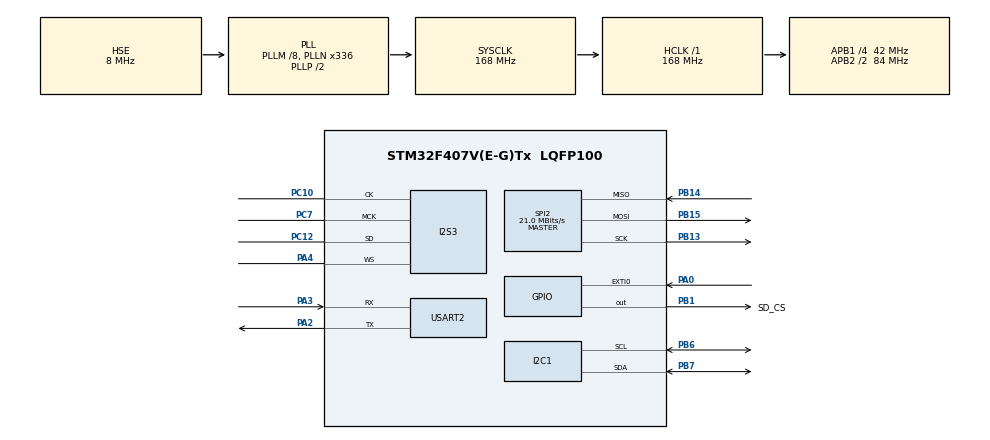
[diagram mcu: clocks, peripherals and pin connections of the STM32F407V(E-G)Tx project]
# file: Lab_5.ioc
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Dma.Request0=SPI3_TX
Dma.SPI3_TX.0.Direction=DMA_MEMORY_TO_PERIPH
Dma.SPI3_TX.0.FIFOMode=DMA_FIFOMODE_ENABLE
Dma.SPI3_TX.0.FIFOThreshold=DMA_FIFO_THRESHOLD_FULL
Dma.SPI3_TX.0.Instance=DMA1_Stream5
Dma.SPI3_TX.0.MemBurst=DMA_MBURST_SINGLE
Dma.SPI3_TX.0.MemDataAlignment=DMA_MDATAALIGN_HALFWORD
Dma.SPI3_TX.0.MemInc=DMA_MINC_ENABLE
Dma.SPI3_TX.0.Mode=DMA_CIRCULAR
Dma.SPI3_TX.0.PeriphBurst=DMA_PBURST_SINGLE
Dma.SPI3_TX.0.PeriphDataAlignment=DMA_PDATAALIGN_HALFWORD
Dma.SPI3_TX.0.PeriphInc=DMA_PINC_DISABLE
Dma.SPI3_TX.0.Priority=DMA_PRIORITY_LOW
I2S3.ErrorAudioFreq=-0.27 %
I2S3.FullDuplexMode=I2S_FULLDUPLEXMODE_DISABLE
I2S3.Instance=SPI$Index
I2S3.RealAudioFreq=7.978 KHz
I2S3.VirtualMode=I2S_MODE_MASTER
Mcu.Family=STM32F4
Mcu.Name=STM32F407V(E-G)Tx
Mcu.Package=LQFP100
NVIC.DMA1_Stream5_IRQn=true\:0\:0\:false\:false\:true\:false\:true\:true
NVIC.EXTI0_IRQn=true\:5\:0\:true\:false\:true\:true\:true\:true
NVIC.PriorityGroup=NVIC_PRIORITYGROUP_4
NVIC.TIM2_IRQn=true\:15\:0\:false\:false\:true\:false\:true\:true
NVIC.TimeBase=TIM2_IRQn
NVIC.TimeBaseIP=TIM2
PA0-WKUP.Signal=GPXTI0
PA2.Mode=Asynchronous
PA2.Signal=USART2_TX
PA3.Mode=Asynchronous
PA3.Signal=USART2_RX
PA4.Mode=Half_Duplex_Master
PA4.Signal=I2S3_WS
PB1.GPIO_Label=SD_CS
PB1.Signal=GPIO_Output
PB13.Mode=Full_Duplex_Master
PB13.Signal=SPI2_SCK
PB14.Mode=Full_Duplex_Master
PB14.Signal=SPI2_MISO
PB15.Mode=Full_Duplex_Master
PB15.Signal=SPI2_MOSI
PB6.Mode=I2C
PB6.Signal=I2C1_SCL
PB7.Mode=I2C
PB7.Signal=I2C1_SDA
PC10.Mode=Half_Duplex_Master
PC10.Signal=I2S3_CK
PC12.Mode=Half_Duplex_Master
PC12.Signal=I2S3_SD
PC7.Mode=Master_Clock_Activated
PC7.Signal=I2S3_MCK
PH0-OSC_IN.Mode=HSE-External-Oscillator
PH0-OSC_IN.Signal=RCC_OSC_IN
PH1-OSC_OUT.Mode=HSE-External-Oscillator
PH1-OSC_OUT.Signal=RCC_OSC_OUT
ProjectManager.HeapSize=0x200
ProjectManager.StackSize=0x400
ProjectManager.TargetToolchain=STM32CubeIDE
RCC.48MHZClocksFreq_Value=84000000
RCC.AHBFreq_Value=168000000
RCC.APB1CLKDivider=RCC_HCLK_DIV4
RCC.APB1Freq_Value=42000000
RCC.APB1TimFreq_Value=84000000
RCC.APB2CLKDivider=RCC_HCLK_DIV2
RCC.APB2Freq_Value=84000000
RCC.APB2TimFreq_Value=168000000
RCC.CortexFreq_Value=168000000
RCC.HCLKFreq_Value=168000000
RCC.HSE_VALUE=8000000
RCC.HSI_VALUE=16000000
RCC.LSE_VALUE=32768
RCC.PLLM=8
RCC.PLLN=336
RCC.PLLSourceVirtual=RCC_PLLSOURCE_HSE
RCC.SYSCLKFreq_VALUE=168000000
RCC.SYSCLKSource=RCC_SYSCLKSOURCE_PLLCLK
RCC.VCOOutputFreq_Value=336000000
SPI2.BaudRatePrescaler=SPI_BAUDRATEPRESCALER_2
SPI2.CalculateBaudRate=21.0 MBits/s
SPI2.Direction=SPI_DIRECTION_2LINES
SPI2.Mode=SPI_MODE_MASTER
SPI2.VirtualType=VM_MASTER
USART2.VirtualMode=VM_ASYNC
VP_FATFS_VS_Generic.Mode=User_defined
VP_SYS_VS_tim2.Mode=TIM2
board=custom

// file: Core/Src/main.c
/* USER CODE BEGIN Header */
/**
  ******************************************************************************
  * @file           : main.c
  * @brief          : Main program body
  ******************************************************************************
  * @attention
  *
  * Copyright (c) 2025 STMicroelectronics.
  * All rights reserved.
  *
  * This software is licensed under terms that can be found in the LICENSE file
  * in the root directory of this software component.
  * If no LICENSE file comes with this software, it is provided AS-IS.
  *
  ******************************************************************************
  */
/* USER CODE END Header */
#include "main.h"
#include "fatfs.h"

/* USER CODE BEGIN Includes */
#include "FreeRTOS.h"
#include "task.h"
#include "myprintf.h"
#include "string.h"
#include "waveplayer.h"
#include "File_Handling.h"
#include "semphr.h"
#include "queue.h"
#include "stdarg.h"
/* USER CODE END Includes */

/* USER CODE BEGIN PTD */
typedef enum {
	PLAYBACK_CONTROL,
	TRACK_SWITCHING,
	VOLUME_ADJUST
} SystemState;

typedef enum {
	NO_PRESS,
	SINGLE_PRESS,
	LONG_PRESS,
	DOUBLE_PRESS
} eButtonEvent;

typedef struct {
	char message[128];
} LogMessage;
/* USER CODE END PTD */

/* USER CODE BEGIN PD */
#define AUDIO_EXIT_NOTIFY	(1UL << 0)
#define AUDIO_EXITED_NOTIFY (1UL << 1)
/* USER CODE END PD */

I2C_HandleTypeDef hi2c1;

I2S_HandleTypeDef hi2s3;
DMA_HandleTypeDef hdma_spi3_tx;

SPI_HandleTypeDef hspi2;

UART_HandleTypeDef huart2;

/* USER CODE BEGIN PV */
extern AUDIO_PLAYBACK_StateTypeDef AudioState;
TaskHandle_t buttonTaskHandle;
bool initialized  = false;
SystemState currentState = PLAYBACK_CONTROL;
bool single_press = false;
SemaphoreHandle_t fatfsMutex;
QueueHandle_t logQueue;
/* USER CODE END PV */

void SystemClock_Config(void);
static void MX_GPIO_Init(void);
static void MX_DMA_Init(void);
static void MX_SPI2_Init(void);
static void MX_USART2_UART_Init(void);
static void MX_I2C1_Init(void);
static void MX_I2S3_Init(void);

/* USER CODE BEGIN 0 */
void LogOperation(const char *format, ...){
	LogMessage msg;
	va_list args;
	va_start(args, format);
	vsnprintf(msg.message, sizeof(msg.message), format, args);
	va_end(args);
	if (xQueueSend(logQueue, &msg, pdMS_TO_TICKS(100)) != pdPASS){
		myprintf("Failed to send log message!\r\n");
	}
}

void PrintLogFile(void) {
	FIL logFile;
	FRESULT fr;
	UINT br;
	char buffer[128];
	xSemaphoreTake(fatfsMutex, portMAX_DELAY);
	fr = f_open(&logFile, "log.txt", FA_READ);
	if (fr != FR_OK) {
		myprintf("Failed to open log.txt (Error: %d)\r\n", fr);
		xSemaphoreGive(fatfsMutex);
		return;
	}
	myprintf("Log file contents:\r\n");
	do {
		fr = f_read(&logFile, buffer, sizeof(buffer)-1, &br);
		if (fr != FR_OK) {
			myprintf("Error reading log.txt (Error: %d)\r\n", fr);
			break;
		}
		buffer[br] = '\0';
		myprintf("%s", buffer);
	} while (br == sizeof(buffer) - 1);

	f_close(&logFile);

	xSemaphoreGive(fatfsMutex);
}
void LogTask(void *pvParameters) {
	FIL logFile;
	FRESULT fr;
	UINT bw;
	LogMessage logMsg;
	bool fileOpened = false;

	xSemaphoreTake(fatfsMutex, portMAX_DELAY);
	fr = f_open(&logFile, "log.txt", FA_OPEN_ALWAYS);
	if (fr == FR_OK) {
		f_close(&logFile);
		myprintf("Log file cleared.\r\n");
	} else {
		myprintf("Failed to clear log file, error = %d\r\n", fr);
	}
	xSemaphoreGive(fatfsMutex);

	for(;;){
		if (xQueueReceive(logQueue, &logMsg, portMAX_DELAY) == pdPASS) {
			xSemaphoreTake(fatfsMutex, portMAX_DELAY);
			if(!fileOpened) {
				fr = f_open(&logFile, "log.txt", FA_WRITE | FA_OPEN_APPEND);
				if (fr != FR_OK){
					myprintf("LogTask: Failed to open log.txt, error = %d\r\n", fr);
					xSemaphoreGive(fatfsMutex);
					continue;
				}
				fileOpened = true;
			}

			fr = f_write(&logFile, logMsg.message, strlen(logMsg.message), 8ddddddddd&bw);
			if (fr == FR_OK){

				f_sync(&logFile);
				myprintf("LogTask: Wrote log entry.\r\n");

				f_close(&logFile);
				fileOpened = false;
				xSemaphoreGive(fatfsMutex);
				PrintLogFile();
			} else {
				myprintf("LogTask: f_write error: %d\r\n", fr);
				xSemaphoreGive(fatfsMutex);
			}
		}
	}
}

bool buttonState() {
   static const uint32_t DEBOUNCE_MILLIS = 50;
   static bool buttonstate = false;
   static uint32_t buttonstate_ts = 0;

   uint32_t now = HAL_GetTick();

   if (!initialized) {
       buttonstate = HAL_GPIO_ReadPin(GPIOA, GPIO_PIN_0) == GPIO_PIN_SET;
       buttonstate_ts = now;
       initialized = true;
   }

   if (now - buttonstate_ts > DEBOUNCE_MILLIS) {
       bool current_state = (HAL_GPIO_ReadPin(GPIOA, GPIO_PIN_0) == GPIO_PIN_SET);
       if (buttonstate != current_state) {
           buttonstate = current_state;
           buttonstate_ts = now;
       }
   }
   return buttonstate;
}

eButtonEvent getButtonEvent()
{
    static const uint32_t DOUBLE_GAP_MILLIS_MAX = 250;
    static const uint32_t LONG_MILLIS_MIN = 800;

    static uint32_t button_down_ts = 0;
    static uint32_t button_up_ts = 0;

    static bool double_pending = false;
    static bool long_press_pending = false;
    static bool button_down = false;
    static bool long_press_fired = false;

    static eButtonEvent pending_event = NO_PRESS;
    uint32_t now = HAL_GetTick();
    /*write your code here*/
    /*Determine whether it's a single press, double press, or long press.*/

    bool is_pressed = buttonState();

    // detected button
    if (is_pressed)
    {
    	// keep
    	if (button_down)
		{
        	if (!long_press_fired && !double_pending)
        	{
        		// over LONG_MILLIS_MIN => LONG PRESS
        		if ((now - button_down_ts) >= LONG_MILLIS_MIN)
        		{
        			pending_event = LONG_PRESS;
        			long_press_fired = true;
        		}
        	}
    	}
    	else
    	{
			button_down = true;
			button_down_ts = now;
			long_press_fired = false;

			// waiting double press
			if (double_pending)
			{
				pending_event = DOUBLE_PRESS;
				double_pending = false;
				long_press_fired = true;
			}
    	}
    }
    else
    {
    	if (button_down)
    	{
    		button_down = false;
    		button_up_ts = now;
    		// checked LONG PRESS and DOUBLE PRESS
    		if (!long_press_fired && pending_event != DOUBLE_PRESS)
    		{
    			double_pending = true;
    		}
    	}
    	else
    	{
    		if (double_pending)
    		{
    			// over DOUBLE_GAP_MILLIS_MAX => SINGLE PRESS
    			if ((now - button_up_ts) >= DOUBLE_GAP_MILLIS_MAX)
    			{
    				pending_event = SINGLE_PRESS;
    				double_pending = false;
    			}
    		}
    	}
    }

    eButtonEvent event_to_return = pending_event;
    pending_event = NO_PRESS;
    return event_to_return;
}

void ButtonTask(void *pvParameters){
	while (1){
		xTaskNotifyWait(0, 0, NULL, pdMS_TO_TICKS(20));

		eButtonEvent event = getButtonEvent();
		if (event != NO_PRESS) {
			switch (currentState) {
				case PLAYBACK_CONTROL:
					if (event == SINGLE_PRESS) {
						myprintf("PLAYBACK_CONTROL: Single Press Detected. Toggling Play/Pause.\r\n");

						if (AudioState == AUDIO_STATE_PLAY){
							LogOperation("AUDIO_PAUSE\r\n");
							AudioState = AUDIO_STATE_PAUSE;
						}
						if (AudioState == AUDIO_STATE_WAIT){
							LogOperation("AUDIO_RESUME\r\n");
							AudioState = AUDIO_STATE_RESUME;
						}
					}
					else if (event == DOUBLE_PRESS) {
						myprintf("PLAYBACK_CONTROL: Double Press Detected. Entering Track Switching Mode.\r\n");
						currentState = TRACK_SWITCHING;
					}
					else if (event == LONG_PRESS){
						myprintf("PLAYBACK_CONTROL: Long Press Detected. Entering Volume Adjust Mode.\r\n");
						currentState = VOLUME_ADJUST;
					}
					break;
				case TRACK_SWITCHING:
					if (event == SINGLE_PRESS) {
						myprintf("TRACK_SWITCHING: Single Press Detected. Previous Track.\r\n");
						LogOperation("PREVIOUS_SONG\r\n");
						AudioState = AUDIO_STATE_PREVIOUS;
					}
					else if(event == DOUBLE_PRESS) {
						myprintf("TRACK_SWITCHING: Double Press Detected. Next Track.\r\n");
						LogOperation("NEXT_SONG\r\n");
						AudioState = AUDIO_STATE_NEXT;
					}
					else if (event == LONG_PRESS){
						myprintf("TRACK_SWITCHING: Long Press Detected. Exiting Track Switching Mode.\r\n");
						currentState = PLAYBACK_CONTROL;
					}
					break;
				case VOLUME_ADJUST:
					if(event == SINGLE_PRESS) {
						myprintf("VOLUME_ADJUST: Single Press Detected. Volume Down.\r\n");
						LogOperation("VOLUMN_DOWN\r\n");
						AudioState = AUDIO_STATE_VOLUME_DOWN;
					}
					else if(event == DOUBLE_PRESS) {
						myprintf("VOLUME_ADJUST: Double Press Detected. Volume Up.\r\n");
						LogOperation("VOLUMN_UP\r\n");
						AudioState = AUDIO_STATE_VOLUME_UP;
					}
					else if(event == LONG_PRESS){
						myprintf("VOLUME_ADJUST: Long Press Detected. Exiting Volume Adjust Mode.\r\n");
						currentState = PLAYBACK_CONTROL;
					}
					break;
				default:
					break;
			}
		}
		vTaskDelay(pdMS_TO_TICKS(10));
	}
}

void AudioPlayerTask(void *pvParameters){
	int IsFinished = 0;
	xSemaphoreTake(fatfsMutex, portMAX_DELAY);
	if (AUDIO_PLAYER_Start(0) != 0) { // 假設 0 是成功，依據你的 waveplayer.h 定義為準
	    myprintf("Audio Error: Cannot start playback! File missing?\r\n");
	} else {
	    myprintf("Audio playing successfully!\r\n");
	}
	xSemaphoreGive(fatfsMutex);
	while (!IsFinished){
		xSemaphoreTake(fatfsMutex, portMAX_DELAY);
		AUDIO_PLAYER_Process(true);
		xSemaphoreGive(fatfsMutex);

		if (AudioState == AUDIO_STATE_STOP)
		{
			IsFinished = 1;
		}
		vTaskDelay(pdMS_TO_TICKS(10));
	}

	vTaskDelete(NULL);
}

void HAL_GPIO_EXTI_Callback(uint16_t GPIO_Pin) {
	if (GPIO_Pin == GPIO_PIN_0){
		BaseType_t xHigherPriorityTaskWoken = pdFALSE;
		if (buttonTaskHandle != NULL) {
			vTaskNotifyGiveFromISR(buttonTaskHandle, &xHigherPriorityTaskWoken);
			portYIELD_FROM_ISR(xHigherPriorityTaskWoken);
		}
	}
}

void SDCARD_Test(void *pvParameters){
	myprintf("SDCARDTest START!\r\n");
	FATFS fs;

	FRESULT res = f_mount(&fs, "", 1);
	if (res != FR_OK) {
	    myprintf("SD mount failed with error code: %d\r\n", res);
	} else {
	    myprintf("SD mounted!\r\n");
	}
}

/* USER CODE END 0 */

int main(void)
{

  /* MCU Configuration--------------------------------------------------------*/

  /* Reset of all peripherals, Initializes the Flash interface and the Systick. */
  HAL_Init();

  /* Configure the system clock */
  SystemClock_Config();

  /* Initialize all configured peripherals */
  MX_GPIO_Init();
  MX_DMA_Init();
  MX_SPI2_Init();
  MX_USART2_UART_Init();
  MX_FATFS_Init();
  MX_I2C1_Init();
  MX_I2S3_Init();
  /* USER CODE BEGIN 2 */
  Mount_SD();
  fatfsMutex = xSemaphoreCreateMutex();
  if (fatfsMutex == NULL){
  	myprintf("Failed to create fatfsMutex!\r\n");
  }
  logQueue = xQueueCreate(10, sizeof(LogMessage));
  if (logQueue == NULL){
  	myprintf("Failed to create logQueue!\r\n");
  }

  //xTaskCreate(SDCARD_Test, "SDCARD_Test", 256, NULL, 1, NULL);
  xTaskCreate(LogTask, "LogTask", 512, NULL, 3, NULL);
  xTaskCreate(ButtonTask, "ButtonTask", 256, NULL, 2, &buttonTaskHandle);
  xTaskCreate(AudioPlayerTask, "AudioPlayerTask", 512, NULL, 3, NULL);
  vTaskStartScheduler();
  /* USER CODE END 2 */

  /* Infinite loop */
  while (1)
  {

  }
}

void SystemClock_Config(void)
{
  RCC_OscInitTypeDef RCC_OscInitStruct = {0};
  RCC_ClkInitTypeDef RCC_ClkInitStruct = {0};

  /** Configure the main internal regulator output voltage
  */
  __HAL_RCC_PWR_CLK_ENABLE();
  __HAL_PWR_VOLTAGESCALING_CONFIG(PWR_REGULATOR_VOLTAGE_SCALE1);

  /** Initializes the RCC Oscillators according to the specified parameters
  * in the RCC_OscInitTypeDef structure.
  */
  RCC_OscInitStruct.OscillatorType = RCC_OSCILLATORTYPE_HSE;
  RCC_OscInitStruct.HSEState = RCC_HSE_ON;
  RCC_OscInitStruct.PLL.PLLState = RCC_PLL_ON;
  RCC_OscInitStruct.PLL.PLLSource = RCC_PLLSOURCE_HSE;
  RCC_OscInitStruct.PLL.PLLM = 8;
  RCC_OscInitStruct.PLL.PLLN = 336;
  RCC_OscInitStruct.PLL.PLLP = RCC_PLLP_DIV2;
  RCC_OscInitStruct.PLL.PLLQ = 4;
  if (HAL_RCC_OscConfig(&RCC_OscInitStruct) != HAL_OK)
  {
    Error_Handler();
  }

  /** Initializes the CPU, AHB and APB buses clocks
  */
  RCC_ClkInitStruct.ClockType = RCC_CLOCKTYPE_HCLK|RCC_CLOCKTYPE_SYSCLK
                              |RCC_CLOCKTYPE_PCLK1|RCC_CLOCKTYPE_PCLK2;
  RCC_ClkInitStruct.SYSCLKSource = RCC_SYSCLKSOURCE_PLLCLK;
  RCC_ClkInitStruct.AHBCLKDivider = RCC_SYSCLK_DIV1;
  RCC_ClkInitStruct.APB1CLKDivider = RCC_HCLK_DIV4;
  RCC_ClkInitStruct.APB2CLKDivider = RCC_HCLK_DIV2;

  if (HAL_RCC_ClockConfig(&RCC_ClkInitStruct, FLASH_LATENCY_5) != HAL_OK)
  {
    Error_Handler();
  }
}

static void MX_I2C1_Init(void)
{

  hi2c1.Instance = I2C1;
  hi2c1.Init.ClockSpeed = 100000;
  hi2c1.Init.DutyCycle = I2C_DUTYCYCLE_2;
  hi2c1.Init.OwnAddress1 = 0;
  hi2c1.Init.AddressingMode = I2C_ADDRESSINGMODE_7BIT;
  hi2c1.Init.DualAddressMode = I2C_DUALADDRESS_DISABLE;
  hi2c1.Init.OwnAddress2 = 0;
  hi2c1.Init.GeneralCallMode = I2C_GENERALCALL_DISABLE;
  hi2c1.Init.NoStretchMode = I2C_NOSTRETCH_DISABLE;
  if (HAL_I2C_Init(&hi2c1) != HAL_OK)
  {
    Error_Handler();
  }

}

static void MX_I2S3_Init(void)
{

  hi2s3.Instance = SPI3;
  hi2s3.Init.Mode = I2S_MODE_MASTER_TX;
  hi2s3.Init.Standard = I2S_STANDARD_PHILIPS;
  hi2s3.Init.DataFormat = I2S_DATAFORMAT_16B;
  hi2s3.Init.MCLKOutput = I2S_MCLKOUTPUT_ENABLE;
  hi2s3.Init.AudioFreq = I2S_AUDIOFREQ_8K;
  hi2s3.Init.CPOL = I2S_CPOL_LOW;
  hi2s3.Init.ClockSource = I2S_CLOCK_PLL;
  hi2s3.Init.FullDuplexMode = I2S_FULLDUPLEXMODE_DISABLE;
  if (HAL_I2S_Init(&hi2s3) != HAL_OK)
  {
    Error_Handler();
  }

}

static void MX_SPI2_Init(void)
{

  /* SPI2 parameter configuration*/
  hspi2.Instance = SPI2;
  hspi2.Init.Mode = SPI_MODE_MASTER;
  hspi2.Init.Direction = SPI_DIRECTION_2LINES;
  hspi2.Init.DataSize = SPI_DATASIZE_8BIT;
  hspi2.Init.CLKPolarity = SPI_POLARITY_LOW;
  hspi2.Init.CLKPhase = SPI_PHASE_1EDGE;
  hspi2.Init.NSS = SPI_NSS_SOFT;
  hspi2.Init.BaudRatePrescaler = SPI_BAUDRATEPRESCALER_2;
  hspi2.Init.FirstBit = SPI_FIRSTBIT_MSB;
  hspi2.Init.TIMode = SPI_TIMODE_DISABLE;
  hspi2.Init.CRCCalculation = SPI_CRCCALCULATION_DISABLE;
  hspi2.Init.CRCPolynomial = 10;
  if (HAL_SPI_Init(&hspi2) != HAL_OK)
  {
    Error_Handler();
  }

}

static void MX_USART2_UART_Init(void)
{

  huart2.Instance = USART2;
  huart2.Init.BaudRate = 115200;
  huart2.Init.WordLength = UART_WORDLENGTH_8B;
  huart2.Init.StopBits = UART_STOPBITS_1;
  huart2.Init.Parity = UART_PARITY_NONE;
  huart2.Init.Mode = UART_MODE_TX_RX;
  huart2.Init.HwFlowCtl = UART_HWCONTROL_NONE;
  huart2.Init.OverSampling = UART_OVERSAMPLING_16;
  if (HAL_UART_Init(&huart2) != HAL_OK)
  {
    Error_Handler();
  }

}

static void MX_DMA_Init(void)
{

  /* DMA controller clock enable */
  __HAL_RCC_DMA1_CLK_ENABLE();

  /* DMA interrupt init */
  /* DMA1_Stream5_IRQn interrupt configuration */
  HAL_NVIC_SetPriority(DMA1_Stream5_IRQn, 0, 0);
  HAL_NVIC_EnableIRQ(DMA1_Stream5_IRQn);

}

static void MX_GPIO_Init(void)
{
  GPIO_InitTypeDef GPIO_InitStruct = {0};

  /* GPIO Ports Clock Enable */
  __HAL_RCC_GPIOH_CLK_ENABLE();
  __HAL_RCC_GPIOA_CLK_ENABLE();
  __HAL_RCC_GPIOB_CLK_ENABLE();
  __HAL_RCC_GPIOC_CLK_ENABLE();

  /*Configure GPIO pin Output Level */
  HAL_GPIO_WritePin(SD_CS_GPIO_Port, SD_CS_Pin, GPIO_PIN_RESET);

  /*Configure GPIO pin : PA0 */
  GPIO_InitStruct.Pin = GPIO_PIN_0;
  GPIO_InitStruct.Mode = GPIO_MODE_IT_RISING;
  GPIO_InitStruct.Pull = GPIO_NOPULL;
  HAL_GPIO_Init(GPIOA, &GPIO_InitStruct);

  /*Configure GPIO pin : SD_CS_Pin */
  GPIO_InitStruct.Pin = SD_CS_Pin;
  GPIO_InitStruct.Mode = GPIO_MODE_OUTPUT_PP;
  GPIO_InitStruct.Pull = GPIO_NOPULL;
  GPIO_InitStruct.Speed = GPIO_SPEED_FREQ_LOW;
  HAL_GPIO_Init(SD_CS_GPIO_Port, &GPIO_InitStruct);

  /* EXTI interrupt init*/
  HAL_NVIC_SetPriority(EXTI0_IRQn, 5, 0);
  HAL_NVIC_EnableIRQ(EXTI0_IRQn);

}

void HAL_TIM_PeriodElapsedCallback(TIM_HandleTypeDef *htim)
{
  if (htim->Instance == TIM2) {
    HAL_IncTick();
  }
}

void Error_Handler(void)
{
  __disable_irq();
  while (1)
  {
  }
}
